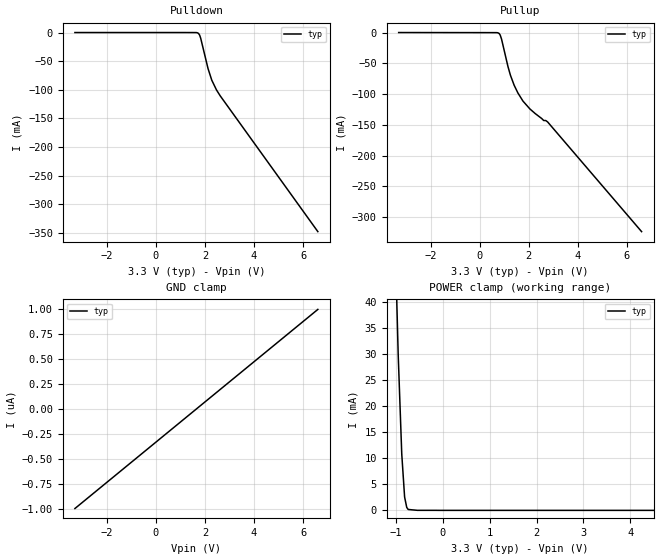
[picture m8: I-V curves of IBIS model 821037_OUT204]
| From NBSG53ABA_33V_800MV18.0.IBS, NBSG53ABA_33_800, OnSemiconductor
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| COPYRIGHT(C) MENTOR GRAPHICS CORPORATION 2002 ALL
| RIGHTS RESERVED. THIS WORK CONTAINS PROPRIETARY
| INFORMATION WHICH IS THE PROPERTY OF MENTOR GRAPHICS
| CORPORATION OR ITS LICENSORS. USE OF THESE MATERIALS
| IS SUBJECT TO THE TERMS BELOW.
| USE: MENTOR GRAPHICS HAS LICENSED IBIS MODELS TO
| SPECIFIC INTEGRATED CIRCUIT SUPPLIERS ("IC VENDORS")
| FOR USE AND DISTRIBUTION AS FOLLOWS: EACH IC VENDOR
| MAY USE IBIS MODELS, AND DISTRIBUTE THEM TO IC VENDOR'S
| CUSTOMERS TO USE, SOLELY FOR DEVELOPING PRINTED
| CIRCUIT BOARD DESIGNS. NO OTHER USE OR DISTRIBUTION
| OF THESE MATERIALS IS PERMITTED.
| Model Application Version 1.89 2/18/99.
[Model] 821037_OUT204
Model_type Output_ECL
Vref=1.300V
Rref=50.00ohms
Cref=0.000F
Vmeas=2.000V
C_comp 500.0fF NA NA
| variable typ   min   max
[Voltage Range] 3.300V NA NA
[POWER Clamp Reference] 3.300V NA NA
[Pullup Reference] 3.300V NA NA
[Pulldown Reference] 3.300V NA NA
[GND Clamp Reference] 0.000V NA NA
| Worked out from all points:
|   POWER clamp passes 1 mA (typ) near -0.78 V on its own axis
[GND Clamp]
-3.3V     -1uA       NA         NA
6.6V      1uA        NA         NA
[Pulldown]
-3.3V     -14.17uA   NA         NA
1.628V    -68.54uA   NA         NA
1.734V    -1.491mA   NA         NA
1.78V     -4.351mA   NA         NA
1.825V    -9.857mA   NA         NA
2.124V    -62.9mA    NA         NA
2.276V    -83.14mA   NA         NA
2.469V    -100.3mA   NA         NA
2.621V    -110.6mA   NA         NA
6.6V      -347.8mA   NA         NA
[Pullup]
-3.3V     94.39uA    NA         NA
792.1mV   -1.389mA   NA         NA
893.1mV   -10.67mA   NA         NA
1.152V    -54.92mA   NA         NA
1.253V    -69.15mA   NA         NA
1.405V    -85.45mA   NA         NA
1.557V    -98mA      NA         NA
1.765V    -111.3mA   NA         NA
2.261V    -131.5mA   NA         NA
2.611V    -142.9mA   NA         NA
2.768V    -145.1mA   NA         NA
6.6V      -323.5mA   NA         NA
[POWER Clamp]
-3.3V     829.1mA    NA         NA
-951.3mV  29.91mA    NA         NA
-875.2mV  10.8mA     NA         NA
-814.3mV  2.549mA    NA         NA
-769mV    570.3uA    NA         NA
-738.4mV  171.4uA    NA         NA
-539.2mV  5.694uA    NA         NA
-140.7mV  5.694uA    NA         NA
-93.8mV   0A         NA         NA
6.6V      0A         NA         NA
[Ramp]
| variable typ min max
dV/dt_r 469.7m/47.16p NA NA
dV/dt_f 469.7m/42.15p NA NA
R_load = 50.00Ohms
